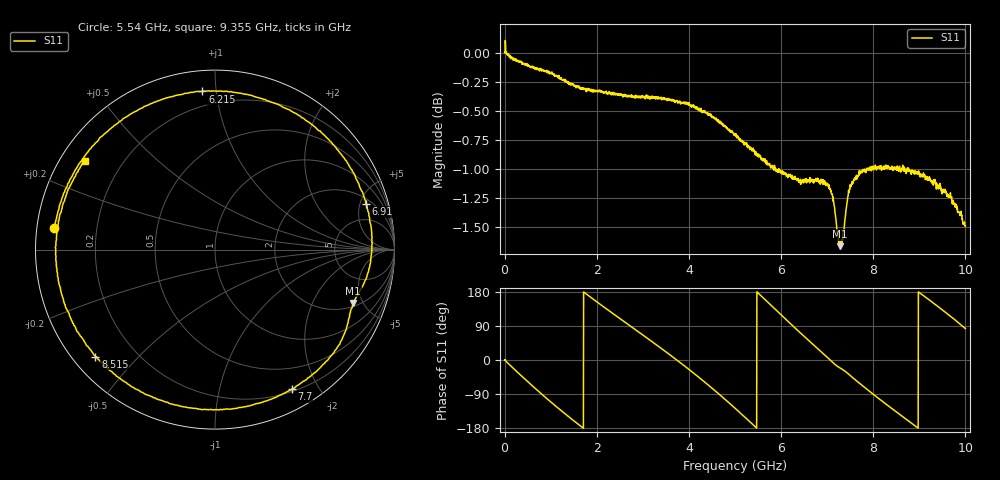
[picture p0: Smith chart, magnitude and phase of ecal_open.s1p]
!Keysight Technologies,M9375A,MY54321142,A.14.10.03
!Date: Thursday, September 11, 2025 11:54:04
!Correction: S11(C  2-Port  )
!S1P File: Measurement: :
# Hz S  dB  R 50
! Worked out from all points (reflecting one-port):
!   2001 points, 1 MHz to 10 GHz, reference 50 ohm
!   lowest |S11| = -1.7 dB at 7.28 GHz (marker M1), VSWR 10.48, Z = 112 - j210 ohm
!   phase of S11 starts at -0 deg and turns -997 deg over the sweep
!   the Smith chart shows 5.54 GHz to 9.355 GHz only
!   S11 on the Smith chart (normalised r, x): 5.54 GHz: 0.05, +0.07; 6.215 GHz: 0.11, +0.92; 6.91 GHz: 2.55, +5.65; 7.7 GHz: 0.23, -1.67; 8.515 GHz: 0.06, -0.38; 9.355 GHz: 0.07, +0.31
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1000000  0.00 -0.0
2.90971e8  -0.07 -33.4
6.50935e8  -0.14 -73.4
9.359065e8  -0.15 -103.8
1.250875e9  -0.24 -135.8
1.835816e9  -0.31 168.6
2.50075e9  -0.36 109.6
3.065694e9  -0.37 60.3
3.750625e9  -0.41 -1.3
4.080592e9  -0.46 -32.6
4.445556e9  -0.52 -68.6
4.725528e9  -0.61 -97.7
5.0005e9  -0.70 -127.1
5.540446e9  -0.89 172.4
5.90541e9  -1.01 130.2
6.215378e9  -1.07 94.5
6.250375e9  -1.07 90.6
6.555344e9  -1.10 56.3
6.910309e9  -1.13 16.8
7.280272e9  -1.66 -21.2
7.50025e9  -1.13 -40.9
7.70023e9  -1.05 -61.2
8.085192e9  -0.99 -98.6
8.515148e9  -0.98 -138.2
8.750125e9  -0.99 -159.4
9.355064e9  -1.13 145.7
9.69503e9  -1.25 113.6
1e10  -1.49 82.9
